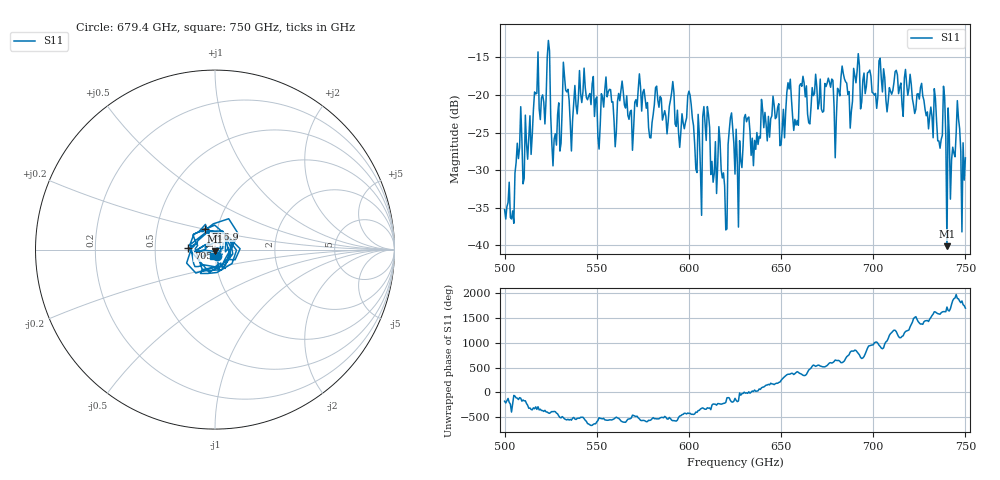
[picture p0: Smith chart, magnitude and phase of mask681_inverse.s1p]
!Created with skrf (http://scikit-rf.org).
# GHz S MA R 50.0
!freq magS11 angS11
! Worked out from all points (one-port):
!   401 points, 500 GHz to 750 GHz, reference 50 ohm
!   lowest |S11| = -40.1 dB at 740 GHz (marker M1), VSWR 1.02, Z = 50.1 - j0.978 ohm
!   |S11| at or under -10 dB: start of sweep to end of sweep
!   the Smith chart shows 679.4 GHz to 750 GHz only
!   S11 on the Smith chart (normalised r, x): 679.4 GHz: 1.02, -0.07; 705.6 GHz: 0.74, +0.01; 716.9 GHz: 0.87, +0.21; 750 GHz: 0.98, -0.07
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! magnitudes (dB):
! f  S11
! 500 GHz  -35.3
! 504.4 GHz  -35.4
! 507.5 GHz  -28.5
! 511.2 GHz  -22.7
! 516.9 GHz  -19.9
! 523.8 GHz  -12.8
! 526.9 GHz  -25.9
! 531.2 GHz  -21.7
! 562.5 GHz  -20.8
! 579.4 GHz  -25.7
! 590.6 GHz  -19.7
! 593.8 GHz  -22.0
! 600.6 GHz  -20.0
! 605.6 GHz  -25.2
! 609.4 GHz  -26.1
! 619.4 GHz  -32.1
! 622.5 GHz  -23.1
! 625 GHz  -30.5
! 656.2 GHz  -22.8
! 679.4 GHz  -28.4
! 683.8 GHz  -17.1
! 687.5 GHz  -24.4
! 690.6 GHz  -18.4
! 705.6 GHz  -16.5
! 716.9 GHz  -17.8
! 718.8 GHz  -20.0
! 740 GHz  -40.1
! 750 GHz  -28.4
